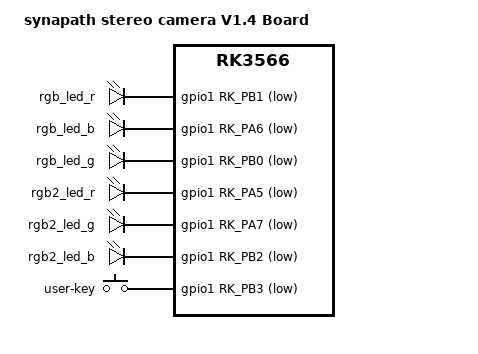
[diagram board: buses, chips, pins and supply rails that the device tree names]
// SPDX-License-Identifier: (GPL-2.0+ OR MIT)
/*
 * Copyright (c) 2020 Rockchip Electronics Co., Ltd.
 *
 */

 /*********************************************************************
 *           立创开发板不靠卖板赚钱，以培养中国工程师为己任
 *         泰山派软硬件资料与相关扩展板软硬件资料官网全部开源
 *                      开发板官网：www.lckfb.com
 *                     立创论坛：oshwhub.com/forum
 *            关注B站：【立创开发板】，掌握我们的最新动态！
 *********************************************************************
 * 文件名：tspi-rk3566-user-v10.dtsi
 * 描述：用户自定义层
 * 更新:
 * 时间          作者           联系           说明
 * 2023-09-13   吴才成    1378913492@qq.com   v1.0.0
 *********************************************************************/
/dts-v1/;

#include <dt-bindings/gpio/gpio.h>
#include <dt-bindings/display/media-bus-format.h>
#include <dt-bindings/pinctrl/rockchip.h>
#include "rk3566.dtsi"
#include <dt-bindings/display/rockchip_vop.h>


//tspi核心配置层，这里是几乎后期不需要怎么改动
#include "tspi-rk3566-core-v10.dtsi"

/ {
	model = "synapath stereo camera V1.4 Board";
	compatible = "synapath,stereo-v1.4", "rockchip,rk3566";

	board-info {
		project-name = "stereo";
		pcb_version = "1.4";
		manufacturer = "SYNAPATH AI";
	};

	chosen: chosen {
		// EMMC
		bootargs = "earlycon=uart8250,mmio32,0xfe660000 console=ttyFIQ0 root=PARTUUID=614e0000-0000 rw rootwait";
		// bootargs = "earlycon=uart8250,mmio32,0xfe660000 console=ttyFIQ0 root=PARTLABEL=rootfs cma=512M rw rootwait";

		// bootargs = "earlycon=uart8250,mmio32,0xfe660000 console=ttyFIQ0 root=/dev/mmcblk0p4 rootfstype=squashfs ro rootwait cma=512M";
		// SD
		// bootargs = "earlycon=uart8250,mmio32,0xfe660000 console=ttyFIQ0 root=/dev/mmcblk1p4 cma=512M rw rootwait";
	};

	leds: leds {
		compatible = "gpio-leds";
		// 自制版配置
		rgb_led_r: rgb-led-r {
			gpios = <&gpio1 RK_PB1 GPIO_ACTIVE_LOW>;
			linux,default-trigger = "none";
			// default-state = "on";
			// linux,default-trigger = "timer";
			// linux,delay-reg = <0>;  		// 延时注册
			// linux,blink-delay-on = <500>;
			// linux,blink-delay-off = <500>;
		};
		rgb_led_b: rgb-led-g {
			gpios = <&gpio1 RK_PA6 GPIO_ACTIVE_LOW>;
			linux,default-trigger = "none";
			// default-state = "on";
			// linux,default-trigger = "timer";
			// linux,delay-reg = <0>;  		// 延时注册
			// linux,blink-delay-on = <2000>;
			// linux,blink-delay-off = <2000>;
		};
		rgb_led_g: rgb-led-b {
			gpios = <&gpio1 RK_PB0 GPIO_ACTIVE_LOW>;
			linux,default-trigger = "none";
			// default-state = "on";
			// linux,default-trigger = "timer";
			// linux,delay-reg = <0>;  		// 延时注册
			// linux,blink-delay-on = <1000>;
			// linux,blink-delay-off = <1000>;
		};


		rgb2_led_r: rgb2-led-r {
			gpios = <&gpio1 RK_PA5 GPIO_ACTIVE_LOW>;
			// linux,default-trigger = "none";
			// default-state = "off";
			linux,default-trigger = "timer";
			linux,delay-reg = <0>;  		// 延时注册
			linux,blink-delay-on = <100>;
			linux,blink-delay-off = <100>;
		};
		rgb2_led_g: rgb2-led-g {
			gpios = <&gpio1 RK_PA7 GPIO_ACTIVE_LOW>;
			// linux,default-trigger = "none";
			// default-state = "off";
			linux,default-trigger = "timer";
			linux,delay-reg = <0>;  		// 延时注册
			linux,blink-delay-on = <200>;
			linux,blink-delay-off = <200>;
		};
		rgb2_led_b: rgb2-led-b {
			gpios = <&gpio1 RK_PB2 GPIO_ACTIVE_LOW>;
			// linux,default-trigger = "none";
			// default-state = "on";
			linux,default-trigger = "timer";
			linux,delay-reg = <0>;  		// 延时注册
			linux,blink-delay-on = <400>;
			linux,blink-delay-off = <400>;
		};

	};

	/*
	 * GPIO1_B3 用户按键，用户态可通过 /dev/input/eventX 监听。
	 */
	gpio_keys: gpio-keys {
		compatible = "gpio-keys";
		pinctrl-names = "default";
		pinctrl-0 = <&gpio1b3_key_pin>;

		user_key: user-key {
			label = "user-key";
			gpios = <&gpio1 RK_PB3 GPIO_ACTIVE_LOW>;
			linux,code = <183>; /* KEY_F13 */
			debounce-interval = <10>;
			wakeup-source;
		};
	};

};

//用户三色灯
&leds {
	status = "okay";
	// status = "disable";
};

&wireless_bluetooth {
	status = "disabled";
};

&pinctrl {
	user-key-pins {
		gpio1b3_key_pin: gpio1b3-key-pin {
			rockchip,pins = <1 RK_PB3 RK_FUNC_GPIO &pcfg_pull_up>;
		};
	};
};

&i2s1_8ch {
	/*
	 * GPIO1_B3 is i2s1m0_sdi0 by default in core dtsi. This board uses the
	 * pin as user-key, so keep I2S1 TX pins only and release SDI0.
	 */
	pinctrl-0 = <&i2s1m0_sclktx
		     &i2s1m0_lrcktx
		     &i2s1m0_sdo0>;
};
